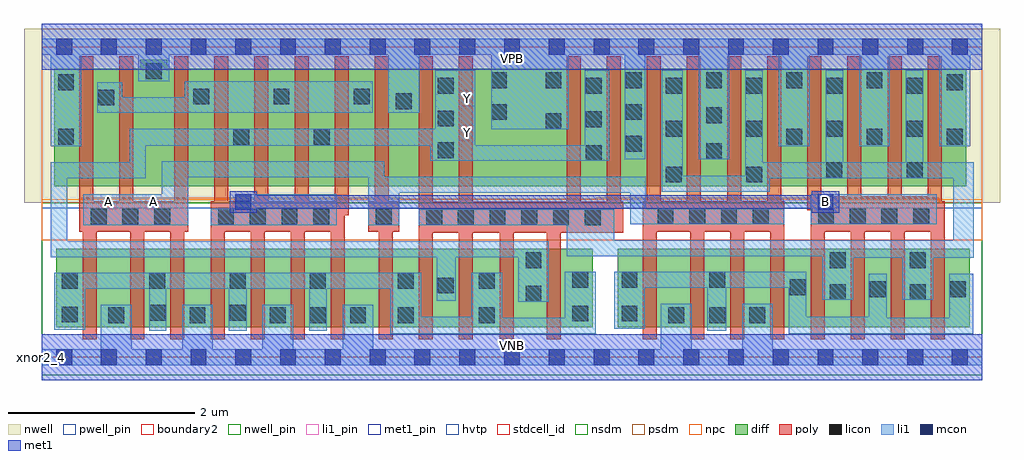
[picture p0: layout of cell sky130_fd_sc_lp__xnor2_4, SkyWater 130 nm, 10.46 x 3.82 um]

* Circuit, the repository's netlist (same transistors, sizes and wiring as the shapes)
* Copyright 2020 The SkyWater PDK Authors
*
* Licensed under the Apache License, Version 2.0 (the "License");
* you may not use this file except in compliance with the License.
* You may obtain a copy of the License at
*
*     https://www.apache.org/licenses/LICENSE-2.0
*
* Unless required by applicable law or agreed to in writing, software
* distributed under the License is distributed on an "AS IS" BASIS,
* WITHOUT WARRANTIES OR CONDITIONS OF ANY KIND, either express or implied.
* See the License for the specific language governing permissions and
* limitations under the License.
*
* SPDX-License-Identifier: Apache-2.0

.SUBCKT sky130_fd_sc_lp__xnor2_4 A B VGND VNB VPB VPWR Y
*.PININFO A:I B:I VGND:I VNB:I VPB:I VPWR:I Y:O
MMNnand0 VGND A sndNA VNB sky130_fd_pr__nfet_01v8 m=4 w=0.84U l=0.15U mult=1 sa=0.265
+ sb=0.265 sd=0.28 area=0.063 perim=1.14
MMNnand1 sndNA B inand VNB sky130_fd_pr__nfet_01v8 m=4 w=0.84U l=0.15U mult=1 sa=0.265
+ sb=0.265 sd=0.28 area=0.063 perim=1.14
MMNaoi10 nmid A VGND VNB sky130_fd_pr__nfet_01v8 m=4 w=0.84U l=0.15U mult=1 sa=0.265
+ sb=0.265 sd=0.28 area=0.063 perim=1.14
MMNaoi11 nmid B VGND VNB sky130_fd_pr__nfet_01v8 m=4 w=0.84U l=0.15U mult=1 sa=0.265
+ sb=0.265 sd=0.28 area=0.063 perim=1.14
MMNaoi20 Y inand nmid VNB sky130_fd_pr__nfet_01v8 m=4 w=0.84U l=0.15U mult=1 sa=0.265
+ sb=0.265 sd=0.28 area=0.063 perim=1.14
MMPnand0 inand A VPWR VPB sky130_fd_pr__pfet_01v8_hvt m=4 w=1.26U l=0.15U mult=1
+ sa=0.265 sb=0.265 sd=0.28 area=0.063 perim=1.14
MMPnand1 inand B VPWR VPB sky130_fd_pr__pfet_01v8_hvt m=4 w=1.26U l=0.15U mult=1
+ sa=0.265 sb=0.265 sd=0.28 area=0.063 perim=1.14
MMPaoi10 VPWR A sndPA VPB sky130_fd_pr__pfet_01v8_hvt m=4 w=1.26U l=0.15U mult=1
+ sa=0.265 sb=0.265 sd=0.28 area=0.063 perim=1.14
MMPaoi11 sndPA B Y VPB sky130_fd_pr__pfet_01v8_hvt m=4 w=1.26U l=0.15U mult=1 sa=0.265
+ sb=0.265 sd=0.28 area=0.063 perim=1.14
MMPaoi20 Y inand VPWR VPB sky130_fd_pr__pfet_01v8_hvt m=4 w=1.26U l=0.15U mult=1
+ sa=0.265 sb=0.265 sd=0.28 area=0.063 perim=1.14
.ENDS sky130_fd_sc_lp__xnor2_4

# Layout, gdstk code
import gdstk
lib = gdstk.Library(unit=1e-6, precision=1e-09)
def R(c, l, rs):  # rectangles x0, y0, x1, y1
    for r in rs: c.add(gdstk.rectangle(r[:2], r[2:], *l))
def A(c, l, x, y, w, h, nx, ny, dx, dy):  # array of equal rectangles
    R(c, l, [(x+i*dx, y+j*dy, x+i*dx+w, y+j*dy+h) for i in range(nx) for j in range(ny)])
def P(c, l, *ps):  # polygons
    for p in ps: c.add(gdstk.Polygon(p, *l))
nwell_pin = (64, 16)
nwell = (64, 20)
diff = (65, 20)
poly = (66, 20)
licon = (66, 44)
li1_pin = (67, 16)
li1 = (67, 20)
mcon = (67, 44)
met1_pin = (68, 16)
met1 = (68, 20)
hvtp = (78, 44)
stdcell_id = (81, 4)
nsdm = (93, 44)
psdm = (94, 20)
npc = (95, 20)
pwell_pin = (122, 16)
boundary2 = (236, 0)

sky130_fd_sc_lp__xnor2_4 = lib.new_cell('sky130_fd_sc_lp__xnor2_4')
R(sky130_fd_sc_lp__xnor2_4, nwell_pin, [(0,3.085,10.08,3.33)])
R(sky130_fd_sc_lp__xnor2_4, nwell, [(-0.19,1.655,10.27,3.52)])
R(sky130_fd_sc_lp__xnor2_4, diff, [(0.155,0.325,5.905,1.165), (6.175,0.325,9.945,1.165)])
P(sky130_fd_sc_lp__xnor2_4, diff, [(9.91,3.095),(1.345,3.095),(1.345,3.19),(1.055,3.19),(1.055,3.095),(0.135,3.095),(0.135,1.835),(9.91,1.835)])
P(sky130_fd_sc_lp__xnor2_4, poly, [(1.57,3.225),(1.42,3.225),(1.42,1.675),(0.98,1.675),(0.98,3.225),(0.83,3.225),(0.83,1.675),(0.55,1.675),(0.55,3.225),(0.4,3.225),(0.4,1.345),(0.44,1.345),(0.44,0.195),(0.59,0.195),(0.59,1.345),(0.95,1.345),(0.95,0.195),(1.1,0.195),(1.1,1.345),(1.38,1.345),(1.38,0.195),(1.53,0.195),(1.53,1.345),(1.57,1.345)],
  [(3.29,3.225),(3.14,3.225),(3.14,1.675),(2.86,1.675),(2.86,3.225),(2.71,3.225),(2.71,1.675),(2.43,1.675),(2.43,3.225),(2.28,3.225),(2.28,1.675),(2,1.675),(2,3.225),(1.85,3.225),(1.85,1.675),(1.81,1.675),(1.81,0.195),(1.96,0.195),(1.96,1.345),(2.24,1.345),(2.24,0.195),(2.39,0.195),(2.39,1.345),(2.67,1.345),(2.67,0.195),(2.82,0.195),(2.82,1.345),(3.1,1.345),(3.1,0.195),(3.25,0.195),(3.25,1.525),(3.29,1.525)],
  [(3.83,1.675),(3.72,1.675),(3.72,3.225),(3.57,3.225),(3.57,1.675),(3.5,1.675),(3.5,1.345),(3.61,1.345),(3.61,0.195),(3.76,0.195),(3.76,1.345),(3.83,1.345)],
  [(6.23,1.665),(6.205,1.665),(6.205,3.225),(6.055,3.225),(6.055,1.665),(5.775,1.665),(5.775,3.225),(5.625,3.225),(5.625,1.665),(4.62,1.665),(4.62,3.225),(4.47,3.225),(4.47,1.665),(4.19,1.665),(4.19,3.225),(4.04,3.225),(4.04,0.195),(4.19,0.195),(4.19,1.335),(4.47,1.335),(4.47,0.195),(4.62,0.195),(4.62,1.335),(4.91,1.335),(4.91,0.195),(5.06,0.195),(5.06,1.335),(5.41,1.335),(5.41,0.195),(5.56,0.195),(5.56,1.335),(6.23,1.335)],
  [(7.96,1.675),(7.925,1.675),(7.925,3.225),(7.775,3.225),(7.775,1.675),(7.495,1.675),(7.495,3.225),(7.345,3.225),(7.345,1.675),(7.065,1.675),(7.065,3.225),(6.915,3.225),(6.915,1.675),(6.635,1.675),(6.635,3.225),(6.485,3.225),(6.485,1.675),(6.44,1.675),(6.44,0.195),(6.59,0.195),(6.59,1.345),(6.95,1.345),(6.95,0.195),(7.1,0.195),(7.1,1.345),(7.38,1.345),(7.38,0.195),(7.53,0.195),(7.53,1.345),(7.81,1.345),(7.81,0.195),(7.96,0.195)],
  [(9.68,1.675),(9.645,1.675),(9.645,3.225),(9.495,3.225),(9.495,1.725),(9.215,1.725),(9.215,3.225),(9.065,3.225),(9.065,1.725),(8.785,1.725),(8.785,3.225),(8.635,3.225),(8.635,1.725),(8.355,1.725),(8.355,3.225),(8.205,3.225),(8.205,1.575),(8.24,1.575),(8.24,0.195),(8.39,0.195),(8.39,1.345),(8.67,1.345),(8.67,0.195),(8.82,0.195),(8.82,1.345),(9.1,1.345),(9.1,0.195),(9.25,0.195),(9.25,1.345),(9.53,1.345),(9.53,0.195),(9.68,0.195)])
A(sky130_fd_sc_lp__xnor2_4, licon, 2.445, 0.365, 0.17, 0.17, 3, 1, 0.43, 0)
A(sky130_fd_sc_lp__xnor2_4, licon, 1.155, 0.735, 0.17, 0.17, 3, 1, 0.86, 0)
A(sky130_fd_sc_lp__xnor2_4, licon, 4.12, 1.415, 0.17, 0.17, 6, 1, 0.34, 0)
A(sky130_fd_sc_lp__xnor2_4, licon, 0.525, 1.425, 0.17, 0.17, 3, 1, 0.34, 0)
A(sky130_fd_sc_lp__xnor2_4, licon, 1.89, 1.425, 0.17, 0.17, 4, 1, 0.34, 0)
A(sky130_fd_sc_lp__xnor2_4, licon, 6.6, 1.425, 0.17, 0.17, 4, 1, 0.34, 0)
A(sky130_fd_sc_lp__xnor2_4, licon, 8.32, 1.425, 0.17, 0.17, 4, 1, 0.34, 0)
A(sky130_fd_sc_lp__xnor2_4, licon, 7.98, 2.28, 0.17, 0.17, 3, 1, 0.86, 0)
A(sky130_fd_sc_lp__xnor2_4, licon, 6.69, 2.365, 0.17, 0.17, 4, 1, 0.86, 0)
A(sky130_fd_sc_lp__xnor2_4, licon, 1.625, 2.71, 0.17, 0.17, 3, 1, 0.86, 0)
A(sky130_fd_sc_lp__xnor2_4, licon, 5.83, 2.825, 0.17, 0.17, 5, 1, 0.86, 0)
A(sky130_fd_sc_lp__xnor2_4, licon, 5.4, 2.885, 0.17, 0.17, 5, 1, 0.86, 0)
R(sky130_fd_sc_lp__xnor2_4, licon, [(0.715,0.365,0.885,0.535), (1.585,0.365,1.755,0.535), (3.815,0.365,3.985,0.535), (4.685,0.365,4.855,0.535), (6.715,0.365,6.885,0.535), (7.155,0.365,7.325,0.535), (7.585,0.365,7.755,0.535), (0.215,0.375,0.385,0.545), (5.685,0.385,5.855,0.555), (6.215,0.385,6.385,0.555), (1.155,0.395,1.325,0.565), (2.015,0.395,2.185,0.565), (5.185,0.595,5.355,0.765), (8.445,0.615,8.615,0.785), (9.305,0.615,9.475,0.785), (8.875,0.645,9.045,0.815), (9.735,0.645,9.905,0.815), (8.015,0.665,8.185,0.835), (4.245,0.685,4.415,0.855), (0.215,0.735,0.385,0.905), (3.815,0.735,3.985,0.905), (4.685,0.735,4.855,0.905), (5.685,0.745,5.855,0.915), (6.215,0.745,6.385,0.915), (7.155,0.745,7.325,0.915), (5.185,0.955,5.355,1.125), (8.445,0.955,8.615,1.125), (9.305,0.955,9.475,1.125), (3.58,1.425,3.75,1.595), (6.69,1.875,6.86,2.045), (7.55,1.875,7.72,2.045), (8.41,1.92,8.58,2.09), (9.27,1.92,9.44,2.09), (5.83,2.105,6,2.275), (7.12,2.125,7.29,2.295), (4.245,2.135,4.415,2.305), (6.26,2.205,6.43,2.375), (0.175,2.28,0.345,2.45), (2.055,2.28,2.225,2.45), (2.915,2.28,3.085,2.45), (5.4,2.445,5.57,2.615), (5.83,2.465,6,2.635), (4.245,2.475,4.415,2.645), (7.12,2.51,7.29,2.68), (4.815,2.545,4.985,2.715), (6.26,2.545,6.43,2.715), (3.795,2.66,3.965,2.83), (0.605,2.7,0.775,2.87), (4.245,2.825,4.415,2.995), (0.175,2.865,0.345,3.035), (9.7,2.865,9.87,3.035), (4.815,2.885,4.985,3.055), (1.115,2.98,1.285,3.15)])
R(sky130_fd_sc_lp__xnor2_4, li1_pin, [(0.635,1.58,0.805,1.75), (1.115,1.58,1.285,1.75), (4.475,2.32,4.645,2.49), (4.475,2.69,4.645,2.86)])
R(sky130_fd_sc_lp__xnor2_4, li1, [(8.24,1.425,9.59,1.75)])
P(sky130_fd_sc_lp__xnor2_4, li1, [(6.08,3.075),(5.82,3.075),(5.82,2.275),(4.645,2.275),(4.645,3.075),(4.215,3.075),(4.215,2.45),(0.945,2.45),(0.945,2.09),(0.095,2.09),(0.095,1.075),(4.235,1.075),(4.235,0.605),(4.435,0.605),(4.435,1.075),(5.105,1.075),(5.105,0.595),(5.435,0.595),(5.435,1.245),(0.275,1.245),(0.275,1.92),(1.115,1.92),(1.115,2.27),(4.165,2.27),(4.165,2.105),(6.08,2.105)],
  [(7.96,1.595),(6.475,1.595),(6.475,1.935),(3.67,1.935),(3.67,2.1),(1.285,2.1),(1.285,1.75),(0.445,1.75),(0.445,1.415),(1.57,1.415),(1.57,1.93),(3.5,1.93),(3.5,1.415),(3.83,1.415),(3.83,1.765),(6.305,1.765),(6.305,1.425),(7.96,1.425)],
  [(3.16,1.75),(2.075,1.75),(2.075,1.595),(1.81,1.595),(1.81,1.415),(3.16,1.415)],
  [(3.545,2.96),(1.535,2.96),(1.535,2.79),(0.865,2.79),(0.865,2.95),(0.595,2.95),(0.595,2.62),(3.545,2.62)],
  [(10.08,3.415),(0,3.415),(0,3.245),(0.095,3.245),(0.095,2.26),(0.425,2.26),(0.425,3.245),(1.035,3.245),(1.035,2.96),(1.365,2.96),(1.365,3.245),(3.715,3.245),(3.715,2.62),(4.045,2.62),(4.045,3.245),(4.815,3.245),(4.815,2.445),(5.65,2.445),(5.65,3.245),(6.25,3.245),(6.25,2.125),(6.47,2.125),(6.47,3.245),(7.04,3.245),(7.04,2.125),(7.37,2.125),(7.37,3.245),(7.9,3.245),(7.9,2.26),(8.23,2.26),(8.23,3.245),(8.76,3.245),(8.76,2.26),(9.09,2.26),(9.09,3.245),(9.62,3.245),(9.62,2.26),(9.95,2.26),(9.95,3.245),(10.08,3.245)],
  [(5.935,0.915),(5.605,0.915),(5.605,0.425),(4.935,0.425),(4.935,0.905),(4.605,0.905),(4.605,0.435),(4.065,0.435),(4.065,0.905),(0.135,0.905),(0.135,0.295),(0.465,0.295),(0.465,0.735),(1.155,0.735),(1.155,0.285),(1.335,0.285),(1.335,0.735),(2.005,0.735),(2.005,0.285),(2.195,0.285),(2.195,0.735),(2.865,0.735),(2.865,0.285),(3.055,0.285),(3.055,0.735),(3.735,0.735),(3.735,0.255),(5.935,0.255)],
  [(10.08,0.085),(7.835,0.085),(7.835,0.575),(7.505,0.575),(7.505,0.085),(6.965,0.085),(6.965,0.575),(6.635,0.575),(6.635,0.085),(3.555,0.085),(3.555,0.565),(3.225,0.565),(3.225,0.085),(2.695,0.085),(2.695,0.565),(2.365,0.565),(2.365,0.085),(1.835,0.085),(1.835,0.565),(1.505,0.565),(1.505,0.085),(0.965,0.085),(0.965,0.565),(0.635,0.565),(0.635,0.085),(0,0.085),(0,-0.085),(10.08,-0.085)],
  [(9.985,0.895),(9.725,0.895),(9.725,0.425),(9.055,0.425),(9.055,0.895),(8.865,0.895),(8.865,0.435),(8.195,0.435),(8.195,0.915),(6.135,0.915),(6.135,0.305),(6.465,0.305),(6.465,0.745),(7.135,0.745),(7.135,0.285),(7.335,0.285),(7.335,0.745),(8.005,0.745),(8.005,0.255),(9.985,0.255)],
  [(9.99,2.09),(9.45,2.09),(9.45,3.075),(9.26,3.075),(9.26,2.09),(8.59,2.09),(8.59,3.075),(8.4,3.075),(8.4,2.09),(7.73,2.09),(7.73,3.075),(7.54,3.075),(7.54,1.945),(6.87,1.945),(6.87,3.075),(6.645,3.075),(6.645,1.775),(7.8,1.775),(7.8,1.92),(9.77,1.92),(9.77,1.255),(6.135,1.255),(6.135,1.585),(4.04,1.585),(4.04,1.415),(5.625,1.415),(5.625,1.085),(8.365,1.085),(8.365,0.615),(8.695,0.615),(8.695,1.065),(9.225,1.065),(9.225,0.615),(9.555,0.615),(9.555,1.065),(9.99,1.065)])
A(sky130_fd_sc_lp__xnor2_4, mcon, 0.155, -0.085, 0.17, 0.17, 21, 2, 0.48, 3.33)
R(sky130_fd_sc_lp__xnor2_4, mcon, [(2.075,1.58,2.245,1.75), (8.315,1.58,8.485,1.75)])
R(sky130_fd_sc_lp__xnor2_4, met1_pin, [(0,0,10.08,0.245), (8.315,1.58,8.485,1.75), (0,3.085,10.08,3.33)])
R(sky130_fd_sc_lp__xnor2_4, met1, [(0,-0.245,10.08,0.245), (0,3.085,10.08,3.575)])
P(sky130_fd_sc_lp__xnor2_4, met1, [(8.545,1.78),(8.255,1.78),(8.255,1.735),(2.305,1.735),(2.305,1.78),(2.015,1.78),(2.015,1.55),(2.305,1.55),(2.305,1.595),(8.255,1.595),(8.255,1.55),(8.545,1.55)])
R(sky130_fd_sc_lp__xnor2_4, hvtp, [(0,1.6,10.08,3.33)])
R(sky130_fd_sc_lp__xnor2_4, stdcell_id, [(0,0,10.08,3.33)])
R(sky130_fd_sc_lp__xnor2_4, nsdm, [(0,-0.19,10.08,1.655)])
P(sky130_fd_sc_lp__xnor2_4, psdm, [(10.08,3.52),(0,3.52),(0,1.655),(0.415,1.655),(0.415,1.705),(3.86,1.705),(3.86,1.695),(5.935,1.695),(5.935,1.705),(9.62,1.705),(9.62,1.655),(10.08,1.655)])
R(sky130_fd_sc_lp__xnor2_4, npc, [(0,1.255,10.08,1.695)])
R(sky130_fd_sc_lp__xnor2_4, pwell_pin, [(0,0,10.08,0.245)])
R(sky130_fd_sc_lp__xnor2_4, boundary2, [(0,0,10.08,3.33)])
sky130_fd_sc_lp__xnor2_4.add(gdstk.Label('VNB', (5.04,0.123), layer=64, texttype=59))
sky130_fd_sc_lp__xnor2_4.add(gdstk.Label('VPB', (5.04,3.208), layer=64, texttype=5))
sky130_fd_sc_lp__xnor2_4.add(gdstk.Label('xnor2_4', (0,0), layer=83, texttype=44))
sky130_fd_sc_lp__xnor2_4.add(gdstk.Label('B', (8.4,1.665), layer=68, texttype=5))
sky130_fd_sc_lp__xnor2_4.add(gdstk.Label('VPWR', (5.04,3.208), layer=68, texttype=5))
sky130_fd_sc_lp__xnor2_4.add(gdstk.Label('VGND', (5.04,0.123), layer=68, texttype=5))
sky130_fd_sc_lp__xnor2_4.add(gdstk.Label('A', (0.72,1.665), layer=67, texttype=5))
sky130_fd_sc_lp__xnor2_4.add(gdstk.Label('A', (1.2,1.665), layer=67, texttype=5))
sky130_fd_sc_lp__xnor2_4.add(gdstk.Label('Y', (4.56,2.405), layer=67, texttype=5))
sky130_fd_sc_lp__xnor2_4.add(gdstk.Label('Y', (4.56,2.775), layer=67, texttype=5))

lib.write_gds('sky130_fd_sc_lp__xnor2_4.gds')
